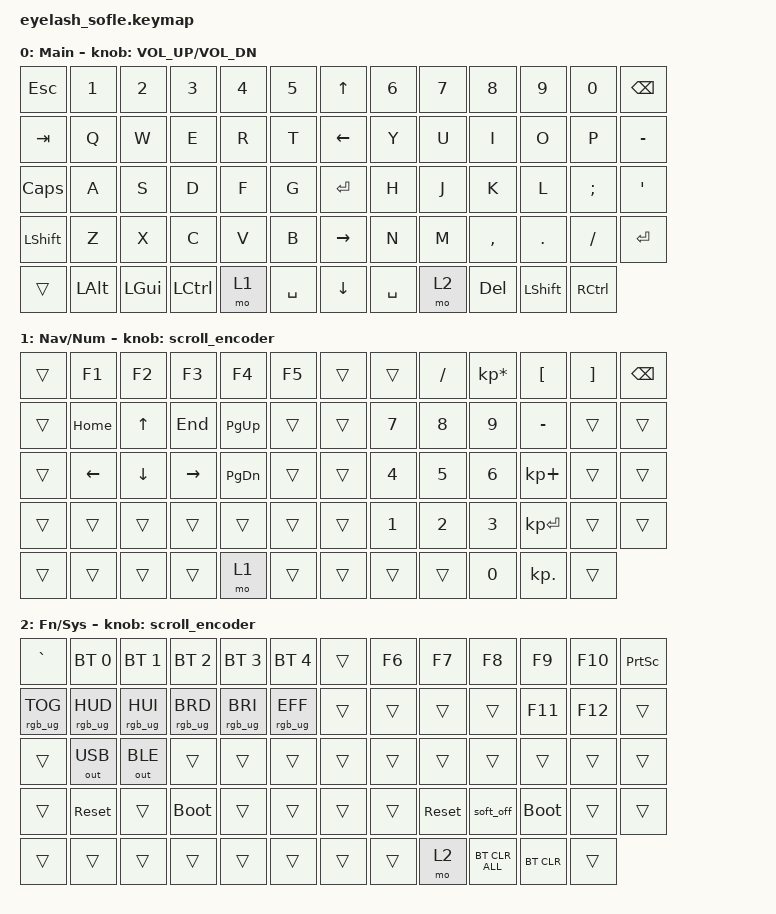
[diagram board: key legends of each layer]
#define ZMK_POINTING_DEFAULT_MOVE_VAL 1200
#define ZMK_POINTING_DEFAULT_SCRL_VAL 25

#include <input/processors.dtsi>
#include <zephyr/dt-bindings/input/input-event-codes.h>
#include <behaviors.dtsi>
#include <dt-bindings/zmk/bt.h>
#include <dt-bindings/zmk/ext_power.h>
#include <dt-bindings/zmk/keys.h>
#include <dt-bindings/zmk/pointing.h>
#include <dt-bindings/zmk/outputs.h>
#include <dt-bindings/zmk/rgb.h>

&mmv_input_listener { input-processors = <&zip_xy_scaler 2 1>; };
&msc_input_listener { input-processors = <&zip_scroll_scaler 2 1>; };

&msc {
    acceleration-exponent = <1>;
    time-to-max-speed-ms = <100>;
    delay-ms = <0>;
};

&mmv {
    time-to-max-speed-ms = <500>;
    acceleration-exponent = <1>;
    trigger-period-ms = <16>;
};

/ {

    scroll_encoder: scroll_encoder {
        compatible = "zmk,behavior-sensor-rotate";
        #sensor-binding-cells = <0>;
        bindings = <&msc SCRL_DOWN>, <&msc SCRL_UP>;
        tap-ms = <100>;
    };

    keymap {
        compatible = "zmk,keymap";

        layer_0 {
            display-name = "Main";
            bindings = <
// ╭──────────┬──────────┬──────────┬──────────┬──────────┬──────────╮  ╭──────────╮  ╭──────────┬──────────┬──────────┬──────────┬──────────┬──────────╮
    &kp ESC    &kp N1     &kp N2     &kp N3     &kp N4     &kp N5        &kp UP         &kp N6     &kp N7     &kp N8     &kp N9     &kp N0     &kp BSPC
    &kp TAB    &kp Q      &kp W      &kp E      &kp R      &kp T         &kp LEFT       &kp Y      &kp U      &kp I      &kp O      &kp P      &kp MINUS
    &kp CAPS   &kp A      &kp S      &kp D      &kp F      &kp G         &kp RET        &kp H      &kp J      &kp K      &kp L      &kp SEMI   &kp SQT
    &kp LSHFT  &kp Z      &kp X      &kp C      &kp V      &kp B         &kp RIGHT      &kp N      &kp M      &kp COMMA  &kp DOT    &kp FSLH   &kp RET
    &trans     &kp LALT   &kp LGUI   &kp LCTRL  &mo 1    &kp SPACE     &kp DOWN       &kp SPACE  &mo 2    &kp DEL    &kp LSHFT  &kp RCTRL
// ╰──────────┴──────────┴──────────┴──────────┴──────────┴──────────╯  ╰──────────╯  ╰──────────┴──────────┴──────────┴──────────┴──────────┴──────────╯
            >;
            sensor-bindings = <&inc_dec_kp C_VOL_UP C_VOL_DN>;
        };

        layer_1 {
            display-name = "Nav/Num";
            bindings = <
// ╭──────────┬──────────┬──────────┬──────────┬──────────┬──────────╮  ╭──────────╮  ╭──────────┬──────────┬──────────┬──────────┬──────────┬──────────╮
// |          | F1       | F2       | F3       | F4       | F5       |  |          |  |          | /        | *        | [  ({)   | ]  (})   | BSPC     |
    &trans     &kp F1     &kp F2     &kp F3     &kp F4     &kp F5        &trans         &trans     &kp FSLH   &kp KP_MULTIPLY &kp LBKT &kp RBKT  &kp BSPC
// |          | Home     | ↑        | End      | PgUp     |          |  |          |  | 7        | 8        | 9        | -        |          |          |
    &trans     &kp HOME   &kp UP     &kp END    &kp PG_UP  &trans        &trans         &kp N7     &kp N8     &kp N9     &kp MINUS  &trans     &trans
// |          | ←        | ↓        | →        | PgDn     |          |  |          |  | 4        | 5        | 6        | +        |          |          |
    &trans     &kp LEFT   &kp DOWN   &kp RIGHT  &kp PG_DN  &trans        &trans         &kp N4     &kp N5     &kp N6     &kp KP_PLUS &trans    &trans
// |          |          |          |          |          |          |  |          |  | 1        | 2        | 3        | Enter    |          |          |
    &trans     &trans     &trans     &trans     &trans     &trans        &trans         &kp N1     &kp N2     &kp N3     &kp KP_ENTER &trans   &trans
// |          |          |          |          | [held]   |          |  |          |  |          |          | 0        | .        |          |
    &trans     &trans     &trans     &trans     &mo 1    &trans        &trans         &trans     &trans     &kp N0     &kp KP_DOT &trans
// ╰──────────┴──────────┴──────────┴──────────┴──────────┴──────────╯  ╰──────────╯  ╰──────────┴──────────┴──────────┴──────────┴──────────┴──────────╯
            >;
            sensor-bindings = <&scroll_encoder>;
        };

        layer_2 {
            display-name = "Fn/Sys";
            bindings = <
// ╭──────────┬──────────┬──────────┬──────────┬──────────┬──────────╮  ╭──────────╮  ╭──────────┬──────────┬──────────┬──────────┬──────────┬──────────╮
// | `        | BT 0     | BT 1     | BT 2     | BT 3     | BT 4     |  |          |  | F6       | F7       | F8       | F9       | F10      |          |
    &kp GRAVE  &bt BT_SEL 0 &bt BT_SEL 1 &bt BT_SEL 2 &bt BT_SEL 3 &bt BT_SEL 4  &trans  &kp F6  &kp F7     &kp F8     &kp F9     &kp F10    &kp PSCRN
// |          |          |          |          |          |          |  |          |  |          |          |          | F11      | F12      |          |
    &rgb_ug RGB_TOG &rgb_ug RGB_HUD &rgb_ug RGB_HUI &rgb_ug RGB_BRD &rgb_ug RGB_BRI &rgb_ug RGB_EFF  &trans     &trans     &trans     &trans     &kp F11    &kp F12    &trans
// |          | USB      | BLE      |          |          |          |  |          |  |          |          |          |          |          |          |
    &trans     &out OUT_USB &out OUT_BLE &trans &trans     &trans        &trans         &trans     &trans     &trans     &trans     &trans     &trans
// |          | Reset    |          | Boot     |          |          |  |          |  |          | Reset    | Soft off | Boot     |          |          |
    &trans     &sys_reset &trans     &bootloader &trans    &trans        &trans         &trans     &sys_reset &soft_off  &bootloader &trans    &trans
// |          |          |          |          |          |          |  |          |  |          | [held]   | BT clr   | BT clr   |          |
    &trans     &trans     &trans     &trans     &trans     &trans        &trans         &trans     &mo 2    &bt BT_CLR_ALL &bt BT_CLR &trans
// ╰──────────┴──────────┴──────────┴──────────┴──────────┴──────────╯  ╰──────────╯  ╰──────────┴──────────┴──────────┴──────────┴──────────┴──────────╯
            >;
            sensor-bindings = <&scroll_encoder>;
        };
    };
};
